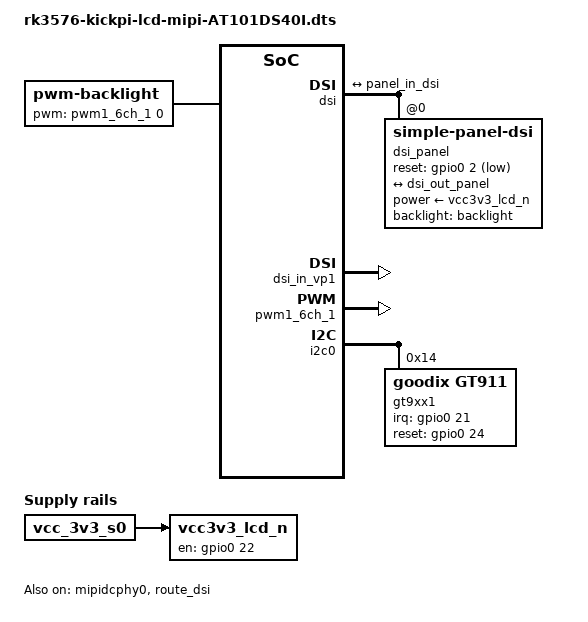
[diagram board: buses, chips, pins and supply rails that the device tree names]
/dts-v1/;
/plugin/;

/ {
    fragment@0 {
        target-path = "/";
        __overlay__ {
            backlight: backlight {
                compatible = "pwm-backlight";
                pwms = <&pwm1_6ch_1 0 25000 0>;
                brightness-levels = <
                    0  20  20  21  21  22  22  23
                    23  24  24  25  25  26  26  27
                    27  28  28  29  29  30  30  31
                    31  32  32  33  33  34  34  35
                    35  36  36  37  37  38  38  39
                    40  41  42  43  44  45  46  47
                    48  49  50  51  52  53  54  55
                    56  57  58  59  60  61  62  63
                    64  65  66  67  68  69  70  71
                    72  73  74  75  76  77  78  79
                    80  81  82  83  84  85  86  87
                    88  89  90  91  92  93  94  95
                    96  97  98  99 100 101 102 103
                    104 105 106 107 108 109 110 111
                    112 113 114 115 116 117 118 119
                    120 121 122 123 124 125 126 127
                    128 129 130 131 132 133 134 135
                    136 137 138 139 140 141 142 143
                    144 145 146 147 148 149 150 151
                    152 153 154 155 156 157 158 159
                    160 161 162 163 164 165 166 167
                    168 169 170 171 172 173 174 175
                    176 177 178 179 180 181 182 183
                    184 185 186 187 188 189 190 191
                    192 193 194 195 196 197 198 199
                    200 201 202 203 204 205 206 207
                    208 209 210 211 212 213 214 215
                    216 217 218 219 220 221 222 223
                    224 225 226 227 228 229 230 231
                    232 233 234 235 236 237 238 239
                    240 241 242 243 244 245 246 247
                    248 249 250 251 252 253 254 255
                >;
                default-brightness-level = <200>;
            };

            vcc3v3_lcd_n: vcc3v3-lcd0-n {
                compatible = "regulator-fixed";
                regulator-name = "vcc3v3_lcd0_n";
                regulator-boot-on;
                enable-active-high;
                gpio = <&gpio0 22 0>;
                vin-supply = <&vcc_3v3_s0>;
            };
        };
    };

    fragment@1 {
        target = <&dsi>;
        __overlay__ {
            status = "okay";
            #address-cells = <1>;
            #size-cells = <0>;
            dsi_panel: panel@0 {
                status = "okay";
                
                compatible = "simple-panel-dsi";
                reg = <0>;
                backlight = <&backlight>;
                power-supply = <&vcc3v3_lcd_n>;

                reset-gpios = <&gpio0 2 1>;

                reset-delay-ms = <120>;
                enable-delay-ms = <120>;
                prepare-delay-ms = <120>;
                init-delay-ms = <120>;
                unprepare-delay-ms = <60>;
                disable-delay-ms = <60>;
                
                width-mm = <68>;
                height-mm = <121>;
                
                dsi,flags = <((1 << 0) | (1 << 1) |
                        (1 << 11) | (1 << 9))>;
                dsi,format = <0>;
                dsi,lanes  = <4>;
                
                panel-init-sequence = [
                    15 00 02 E0 00
                    15 00 02 E1 93 
                    15 00 02 E2 65
                    15 00 02 E3 F8
                    15 00 02 80 03
                    15 00 02 E0 01
                    15 00 02 00 00
                    15 00 02 01 5C
                    15 00 02 17 00
                    15 00 02 18 D7
                    15 00 02 19 01
                    15 00 02 1A 00
                    15 00 02 1B D7
                    15 00 02 1C 01
                    15 00 02 1F 70
                    15 00 02 20 2D
                    15 00 02 21 2D
                    15 00 02 22 7E
                    15 00 02 24 FD
                    15 00 02 37 19
                    15 00 02 35 28
                    15 00 02 38 05
                    15 00 02 39 08
                    15 00 02 3A 12
                    15 00 02 3C 7E
                    15 00 02 3D FF
                    15 00 02 3E FF
                    15 00 02 3F 7F
                    15 00 02 40 06
                    15 00 02 41 A0
                    15 00 02 43 1E
                    15 00 02 44 0B
                    15 00 02 55 01
                    15 00 02 56 01
                    15 00 02 57 6A
                    15 00 02 58 09
                    15 00 02 59 0A
                    15 00 02 5A 2E
                    15 00 02 5B 1A
                    15 00 02 5C 15
                    15 00 02 5D 7F
                    15 00 02 5E 5A
                    15 00 02 5F 47
                    15 00 02 60 3A
                    15 00 02 61 34
                    15 00 02 62 24
                    15 00 02 63 28
                    15 00 02 64 12
                    15 00 02 65 2A
                    15 00 02 66 29
                    15 00 02 67 29
                    15 00 02 68 46
                    15 00 02 69 34
                    15 00 02 6A 37
                    15 00 02 6B 28
                    15 00 02 6C 25
                    15 00 02 6D 1B
                    15 00 02 6E 12
                    15 00 02 6F 02
                    15 00 02 70 7F
                    15 00 02 71 5A
                    15 00 02 72 47
                    15 00 02 73 3A
                    15 00 02 74 34
                    15 00 02 75 24
                    15 00 02 76 28
                    15 00 02 77 12
                    15 00 02 78 2A
                    15 00 02 79 29
                    15 00 02 7A 29
                    15 00 02 7B 46
                    15 00 02 7C 34
                    15 00 02 7D 37
                    15 00 02 7E 28
                    15 00 02 7F 25
                    15 00 02 80 1B
                    15 00 02 81 12
                    15 00 02 82 02
                    15 00 02 E0 02
                    15 00 02 00 52
                    15 00 02 01 55
                    15 00 02 02 55
                    15 00 02 03 50
                    15 00 02 04 77
                    15 00 02 05 57
                    15 00 02 06 55
                    15 00 02 07 4E
                    15 00 02 08 4C
                    15 00 02 09 5F
                    15 00 02 0A 4A
                    15 00 02 0B 48
                    15 00 02 0C 55
                    15 00 02 0D 46
                    15 00 02 0E 44
                    15 00 02 0F 40
                    15 00 02 10 55
                    15 00 02 11 55
                    15 00 02 12 55
                    15 00 02 13 55
                    15 00 02 14 55
                    15 00 02 15 55
                    15 00 02 16 53
                    15 00 02 17 55
                    15 00 02 18 55
                    15 00 02 19 51
                    15 00 02 1A 77
                    15 00 02 1B 57
                    15 00 02 1C 55
                    15 00 02 1D 4F
                    15 00 02 1E 4D
                    15 00 02 1F 5F
                    15 00 02 20 4B
                    15 00 02 21 49
                    15 00 02 22 55
                    15 00 02 23 47
                    15 00 02 24 45
                    15 00 02 25 41
                    15 00 02 26 55
                    15 00 02 27 55
                    15 00 02 28 55
                    15 00 02 29 55
                    15 00 02 2A 55
                    15 00 02 2B 55
                    15 00 02 2C 13
                    15 00 02 2D 15
                    15 00 02 2E 15
                    15 00 02 2F 01
                    15 00 02 30 37
                    15 00 02 31 17
                    15 00 02 32 15
                    15 00 02 33 0D
                    15 00 02 34 0F
                    15 00 02 35 15
                    15 00 02 36 05
                    15 00 02 37 07
                    15 00 02 38 15
                    15 00 02 39 09
                    15 00 02 3A 0B
                    15 00 02 3B 11
                    15 00 02 3C 15
                    15 00 02 3D 15
                    15 00 02 3E 15
                    15 00 02 3F 15
                    15 00 02 40 15
                    15 00 02 41 15
                    15 00 02 42 12
                    15 00 02 43 15
                    15 00 02 44 15
                    15 00 02 45 00
                    15 00 02 46 37
                    15 00 02 47 17
                    15 00 02 48 15
                    15 00 02 49 0C
                    15 00 02 4A 0E
                    15 00 02 4B 15
                    15 00 02 4C 04
                    15 00 02 4D 06
                    15 00 02 4E 15
                    15 00 02 4F 08
                    15 00 02 50 0A
                    15 00 02 51 10
                    15 00 02 52 15
                    15 00 02 53 15
                    15 00 02 54 15
                    15 00 02 55 15
                    15 00 02 56 15
                    15 00 02 57 15
                    15 00 02 58 40
                    15 00 02 5B 10
                    15 00 02 5C 06
                    15 00 02 5D 40
                    15 00 02 5E 00
                    15 00 02 5F 00
                    15 00 02 60 40
                    15 00 02 61 03
                    15 00 02 62 04
                    15 00 02 63 6C
                    15 00 02 64 6C
                    15 00 02 65 75
                    15 00 02 66 08
                    15 00 02 67 B4
                    15 00 02 68 08
                    15 00 02 69 6C
                    15 00 02 6A 6C
                    15 00 02 6B 0C
                    15 00 02 6D 00
                    15 00 02 6E 00
                    15 00 02 6F 88
                    15 00 02 75 BB
                    15 00 02 76 00
                    15 00 02 77 05
                    15 00 02 78 2A
                    15 00 02 E0 04
                    15 00 02 09 11
                    15 00 02 0E 48
                    15 00 02 2D 03
                    15 00 02 E0 00
                    15 00 02 E6 02
                    15 00 02 E7 06
                    05 78 01 11
                    05 05 01 29
                    15 00 02 35 00
                ];

                panel-exit-sequence = [
                    05 00 01 28
                    05 00 01 10
                ];

                disp_timings0: display-timings {
                    native-mode = <&dsi_timing0>;
                    dsi_timing0: timing0 {
                        clock-frequency = <68000000>;
                        hactive = <800>;
                        vactive = <1280>;
                        hback-porch = <68>;
                        hfront-porch = <48>;
                        vback-porch = <28>;
                        vfront-porch = <24>;
                        hsync-len = <18>;
                        vsync-len = <4>;
                        hsync-active = <0>;
                        vsync-active = <0>;
                        de-active = <0>;
                        pixelclk-active = <0>;
                    };
                };

                ports {
                    #address-cells = <1>;
                    #size-cells = <0>;

                    port@0 {
                        reg = <0>;
                        panel_in_dsi: endpoint {
                            remote-endpoint = <&dsi_out_panel>;
                        };
                    };
                };
            };

            ports {
                #address-cells = <1>;
                #size-cells = <0>;

                port@1 {
                    reg = <1>;
                    dsi_out_panel: endpoint {
                        remote-endpoint = <&panel_in_dsi>;
                    };
                };
            };
        };
    };

    fragment@2 {
        target = <&dsi_in_vp1>;
        __overlay__ {
            status = "okay";
        };
    };

    fragment@3 {
        target = <&mipidcphy0>;
        __overlay__ {
            status = "okay";
        };
    };

    fragment@4 {
        target = <&pwm1_6ch_1>;
        __overlay__ {
            status = "okay";
            pinctrl-0 = <&pwm1m0_ch1>;
        };
    };

    fragment@5 {
        target = <&route_dsi>;
        __overlay__ {
            status = "okay";
            connect = <&vp1_out_dsi>;
        };
    };

    fragment@6 {
        target = <&i2c0>;
        __overlay__ {
            pinctrl-0 = <&i2c0m1_xfer>;
            status = "okay";
            #address-cells = <1>;
            #size-cells = <0>;
            gt9xx1: gt9xx@14 {
                status = "okay";
                compatible = "goodix,gt911";
                reg = <0x14>;
                pinctrl-names = "default";
                pinctrl-0 = <&touch1_gpio>;

                interrupt-parent = <&gpio0>;
                interrupts = <21 8>;

                irq-gpios =  <&gpio0 21 8>;
                reset-gpios = <&gpio0 24 0>;
                touchscreen-size-x = <800>;
                touchscreen-size-y = <1280>;

                // touchscreen-inverted-x;
                // touchscreen-inverted-y;
                // touchscreen-swapped-x-y;
            };
        };
    };

    fragment@7 {
        target = <&pinctrl>;
        __overlay__ {
            touch1 {
                touch1_gpio: touch-gpio {
                    rockchip,pins =
                        <0 21 0 &pcfg_pull_up>,
                        <0 24 0 &pcfg_pull_none>;
                };
            };
        };
    };

};
